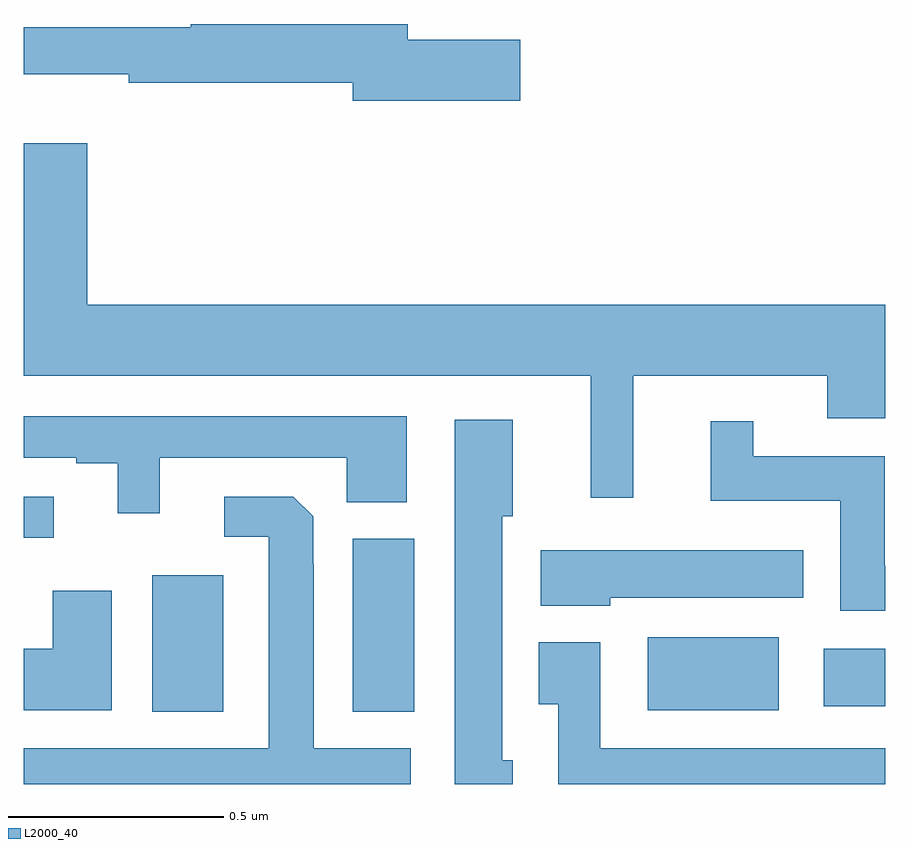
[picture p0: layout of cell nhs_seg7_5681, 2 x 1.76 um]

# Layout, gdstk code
import gdstk
lib = gdstk.Library(unit=1e-6, precision=1e-09)
def R(c, l, rs):  # rectangles x0, y0, x1, y1
    for r in rs: c.add(gdstk.rectangle(r[:2], r[2:], *l))
def P(c, l, *ps):  # polygons
    for p in ps: c.add(gdstk.Polygon(p, *l))
L2000_40 = (2000, 40)

nhs_seg7_5681 = lib.new_cell('nhs_seg7_5681')
R(nhs_seg7_5681, L2000_40, [(189.299,1001.168,189.463,1001.485), (189.764,1001.168,189.907,1001.569), (190.448,1001.171,190.753,1001.341), (190.857,1001.18,191,1001.314), (189,1001.571,189.07,1001.667)])
P(nhs_seg7_5681, L2000_40, [(190.153,1002.728),(189.892,1002.728),(189.892,1002.764),(189.388,1002.764),(189.388,1002.757),(189,1002.757),(189,1002.647),(189.244,1002.647),(189.244,1002.628),(189.764,1002.628),(189.764,1002.586),(190.153,1002.586)],
  [(190.415,1001.948),(190.865,1001.948),(190.865,1001.849),(191,1001.849),(191,1002.112),(189.148,1002.112),(189.148,1002.487),(189,1002.487),(189,1001.948),(190.316,1001.948),(190.316,1001.664),(190.415,1001.664)],
  [(189.316,1001.757),(189.75,1001.757),(189.75,1001.654),(189.889,1001.654),(189.889,1001.853),(189,1001.853),(189,1001.757),(189.122,1001.757),(189.122,1001.745),(189.218,1001.745),(189.218,1001.628),(189.316,1001.628)],
  [(190.135,1001.055),(190.111,1001.055),(190.111,1001.622),(190.135,1001.622),(190.135,1001.845),(190.001,1001.845),(190.001,1001),(190.135,1001)],
  [(191,1001.506),(190.999,1001.506),(190.999,1001.761),(190.693,1001.761),(190.693,1001.842),(190.595,1001.842),(190.595,1001.657),(190.895,1001.657),(190.895,1001.402),(191,1001.402)],
  [(189.898,1001.083),(189.673,1001.083),(189.673,1001.51),(189.672,1001.51),(189.672,1001.621),(189.626,1001.667),(189.465,1001.667),(189.465,1001.574),(189.569,1001.574),(189.569,1001.083),(189,1001.083),(189,1001),(189.898,1001)],
  [(190.362,1001.432),(190.81,1001.432),(190.81,1001.542),(190.2,1001.542),(190.2,1001.414),(190.362,1001.414)],
  [(189.205,1001.449),(189.068,1001.449),(189.068,1001.314),(189,1001.314),(189,1001.171),(189.205,1001.171)],
  [(191,1001.083),(190.338,1001.083),(190.338,1001.329),(190.196,1001.329),(190.196,1001.185),(190.241,1001.185),(190.241,1001),(191,1001)])

lib.write_gds('nhs_seg7_5681.gds')
